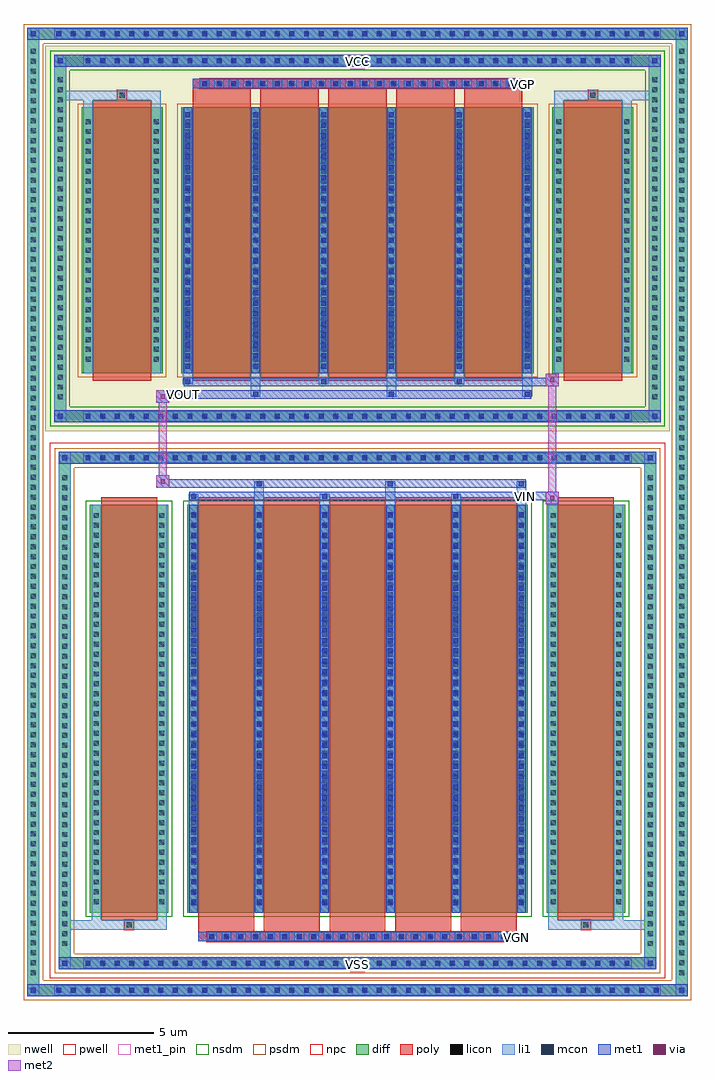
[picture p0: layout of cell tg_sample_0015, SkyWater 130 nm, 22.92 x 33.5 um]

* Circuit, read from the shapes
.subckt tg_sample_0015 VCC VGN VGP VIN VOUT VSS
XM1 VSS VSS VSS VSUBS sky130_fd_pr__nfet_01v8 w=14.01 l=1.92 m=2
XM2 VOUT VGN VIN VSUBS sky130_fd_pr__nfet_01v8 w=14.01 l=1.92 m=5
XM3 VCC VCC VCC n1 sky130_fd_pr__pfet_01v8 w=9.13 l=2 m=2
XM4 VOUT VGP VIN n1 sky130_fd_pr__pfet_01v8 w=9.13 l=2 m=5
.ends

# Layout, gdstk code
import gdstk
lib = gdstk.Library(unit=1e-6, precision=5e-09)
def R(c, l, rs):  # rectangles x0, y0, x1, y1
    for r in rs: c.add(gdstk.rectangle(r[:2], r[2:], *l))
def A(c, l, x, y, w, h, nx, ny, dx, dy):  # array of equal rectangles
    R(c, l, [(x+i*dx, y+j*dy, x+i*dx+w, y+j*dy+h) for i in range(nx) for j in range(ny)])
def P(c, l, *ps):  # polygons
    for p in ps: c.add(gdstk.Polygon(p, *l))
nwell = (64, 20)
pwell = (64, 44)
diff = (65, 20)
poly = (66, 20)
licon = (66, 44)
li1 = (67, 20)
mcon = (67, 44)
met1_pin = (68, 16)
met1 = (68, 20)
via = (68, 44)
met2 = (69, 20)
nsdm = (93, 44)
psdm = (94, 20)
npc = (95, 20)

tg_sample_0015 = lib.new_cell('tg_sample_0015')
R(tg_sample_0015, nwell, [(-10.72,9.59,10.72,22.83)])
R(tg_sample_0015, pwell, [(-10.57,-9.19,10.57,9.19)])
A(tg_sample_0015, diff, -10.455, -9.8, 0.41, 0.41, 42, 2, 0.5, 32.83)
A(tg_sample_0015, diff, -11.33, -9.195, 0.41, 0.41, 1, 94, 0, 0.34)
A(tg_sample_0015, diff, 10.92, -9.195, 0.41, 0.41, 1, 94, 0, 0.34)
A(tg_sample_0015, diff, -9.455, -8.88, 0.41, 0.41, 38, 2, 0.5, 17.35)
A(tg_sample_0015, diff, -10.26, -8.195, 0.41, 0.41, 1, 48, 0, 0.34)
A(tg_sample_0015, diff, 9.85, -8.195, 0.41, 0.41, 1, 48, 0, 0.34)
A(tg_sample_0015, diff, -9.455, 9.9, 0.41, 0.41, 38, 2, 0.5, 12.21)
A(tg_sample_0015, diff, -10.41, 10.565, 0.41, 0.41, 1, 33, 0, 0.34)
A(tg_sample_0015, diff, 10, 10.565, 0.41, 0.41, 1, 33, 0, 0.34)
R(tg_sample_0015, diff, [(-10.455,-9.8,10.455,-9.39), (-11.33,-9.195,-10.92,22.835), (10.92,-9.195,11.33,22.835), (-9.455,-8.88,9.455,-8.47), (-10.26,-8.195,-9.85,8.195), (9.85,-8.195,10.26,8.195), (-9.19,-6.935,-6.49,7.075), (-5.85,-6.935,5.85,7.075), (6.49,-6.935,9.19,7.075), (-9.455,8.47,9.455,8.88), (-9.455,9.9,9.455,10.31), (-10.41,10.565,-10,21.855), (10,10.565,10.41,21.855), (-9.47,11.575,-6.69,20.705), (-6.05,11.575,6.05,20.705), (6.69,11.575,9.47,20.705), (-9.455,22.11,9.455,22.52), (-10.455,23.03,10.455,23.44)])
P(tg_sample_0015, diff, [(10.26,8.88),(-10.26,8.88),(-10.26,-8.47),(-9.85,-8.47),(-9.85,8.47),(9.85,8.47),(9.85,-8.47),(-9.85,-8.47),(-10.26,-8.47),(-10.26,-8.88),(10.26,-8.88)],
  [(11.33,23.44),(-11.33,23.44),(-11.33,-9.39),(-10.92,-9.39),(-10.92,23.03),(10.92,23.03),(10.92,-9.39),(-10.92,-9.39),(-11.33,-9.39),(-11.33,-9.8),(11.33,-9.8)],
  [(10.41,9.9),(-10.41,9.9),(-10.41,22.11),(-10,22.11),(-10,10.31),(10,10.31),(10,22.11),(-10,22.11),(-10.41,22.11),(-10.41,22.52),(10.41,22.52)])
A(tg_sample_0015, poly, -5.165, -7.92, 0.33, 0.33, 21, 1, 0.5, 0)
A(tg_sample_0015, poly, -5.46, -7.59, 1.92, 0.405, 5, 1, 2.25, 0)
A(tg_sample_0015, poly, -5.46, -7.185, 1.92, 14.51, 5, 1, 2.25, 0)
A(tg_sample_0015, poly, -5.66, 11.325, 2, 9.63, 5, 1, 2.33, 0)
A(tg_sample_0015, poly, -5.66, 20.955, 2, 0.405, 5, 1, 2.33, 0)
A(tg_sample_0015, poly, -5.415, 21.36, 0.33, 0.33, 22, 1, 0.5, 0)
R(tg_sample_0015, poly, [(-5.46,-7.92,5.46,-7.59), (-8.005,-7.515,-7.675,-7.185), (-8.005,-7.515,-7.675,-7.185), (7.675,-7.515,8.005,-7.185), (7.675,-7.515,8.005,-7.185), (-8.8,-7.185,-6.88,7.325), (6.88,-7.185,8.8,7.325), (-9.08,11.325,-7.08,20.955), (7.08,11.325,9.08,20.955), (-8.245,20.955,-7.915,21.285), (-8.245,20.955,-7.915,21.285), (7.915,20.955,8.245,21.285), (7.915,20.955,8.245,21.285), (-5.66,21.36,5.66,21.69)])
A(tg_sample_0015, licon, -10.335, -9.68, 0.17, 0.17, 42, 2, 0.5, 32.83)
A(tg_sample_0015, licon, -11.21, -9.075, 0.17, 0.17, 1, 94, 0, 0.34)
A(tg_sample_0015, licon, 11.04, -9.075, 0.17, 0.17, 1, 94, 0, 0.34)
A(tg_sample_0015, licon, -9.335, -8.76, 0.17, 0.17, 38, 2, 0.5, 17.35)
A(tg_sample_0015, licon, -10.14, -8.075, 0.17, 0.17, 1, 48, 0, 0.34)
A(tg_sample_0015, licon, 9.97, -8.075, 0.17, 0.17, 1, 48, 0, 0.34)
A(tg_sample_0015, licon, -5.085, -7.84, 0.17, 0.17, 21, 1, 0.5, 0)
A(tg_sample_0015, licon, -9.05, -6.645, 0.17, 0.17, 1, 40, 0, 0.34)
A(tg_sample_0015, licon, -6.8, -6.645, 0.17, 0.17, 1, 40, 0, 0.34)
A(tg_sample_0015, licon, -5.71, -6.645, 0.17, 0.17, 6, 40, 2.25, 0.34)
A(tg_sample_0015, licon, 6.63, -6.645, 0.17, 0.17, 1, 40, 0, 0.34)
A(tg_sample_0015, licon, 8.88, -6.645, 0.17, 0.17, 1, 40, 0, 0.34)
A(tg_sample_0015, licon, -9.335, 10.02, 0.17, 0.17, 38, 2, 0.5, 12.21)
A(tg_sample_0015, licon, -10.29, 10.685, 0.17, 0.17, 1, 33, 0, 0.34)
A(tg_sample_0015, licon, 10.12, 10.685, 0.17, 0.17, 1, 33, 0, 0.34)
A(tg_sample_0015, licon, -9.33, 11.975, 0.17, 0.17, 1, 25, 0, 0.34)
A(tg_sample_0015, licon, -7, 11.975, 0.17, 0.17, 1, 25, 0, 0.34)
A(tg_sample_0015, licon, -5.91, 11.975, 0.17, 0.17, 6, 25, 2.33, 0.34)
A(tg_sample_0015, licon, 6.83, 11.975, 0.17, 0.17, 1, 25, 0, 0.34)
A(tg_sample_0015, licon, 9.16, 11.975, 0.17, 0.17, 1, 25, 0, 0.34)
A(tg_sample_0015, licon, -5.335, 21.44, 0.17, 0.17, 22, 1, 0.5, 0)
R(tg_sample_0015, licon, [(-7.925,-7.435,-7.755,-7.265), (7.755,-7.435,7.925,-7.265), (-8.165,21.035,-7.995,21.205), (7.995,21.035,8.165,21.205)])
A(tg_sample_0015, li1, -10.415, -9.76, 0.33, 0.33, 42, 2, 0.5, 32.83)
A(tg_sample_0015, li1, -11.29, -9.155, 0.33, 0.33, 1, 94, 0, 0.34)
A(tg_sample_0015, li1, 10.96, -9.155, 0.33, 0.33, 1, 94, 0, 0.34)
A(tg_sample_0015, li1, -9.415, -8.84, 0.33, 0.33, 38, 2, 0.5, 17.35)
A(tg_sample_0015, li1, -10.22, -8.155, 0.33, 0.33, 1, 48, 0, 0.34)
A(tg_sample_0015, li1, 9.89, -8.155, 0.33, 0.33, 1, 48, 0, 0.34)
A(tg_sample_0015, li1, -5.165, -7.92, 0.33, 0.33, 21, 1, 0.5, 0)
A(tg_sample_0015, li1, -5.79, -6.935, 0.33, 14.01, 6, 1, 2.25, 0)
A(tg_sample_0015, li1, -9.13, -6.725, 0.33, 0.33, 1, 40, 0, 0.34)
A(tg_sample_0015, li1, -6.88, -6.725, 0.33, 0.33, 1, 40, 0, 0.34)
A(tg_sample_0015, li1, -5.79, -6.725, 0.33, 0.33, 6, 40, 2.25, 0.34)
A(tg_sample_0015, li1, 6.55, -6.725, 0.33, 0.33, 1, 40, 0, 0.34)
A(tg_sample_0015, li1, 8.8, -6.725, 0.33, 0.33, 1, 40, 0, 0.34)
A(tg_sample_0015, li1, -5.71, -6.675, 0.17, 0.17, 6, 38, 2.25, 0.36)
A(tg_sample_0015, li1, -5.71, -6.675, 0.17, 13.49, 6, 1, 2.25, 0)
A(tg_sample_0015, li1, -5.79, 7.075, 0.33, 0.375, 3, 1, 4.5, 0)
A(tg_sample_0015, li1, -3.54, 7.075, 0.33, 0.805, 3, 1, 4.5, 0)
A(tg_sample_0015, li1, -5.71, 7.28, 0.17, 0.17, 3, 1, 4.5, 0)
A(tg_sample_0015, li1, -3.46, 7.71, 0.17, 0.17, 3, 1, 4.5, 0)
A(tg_sample_0015, li1, -9.415, 9.94, 0.33, 0.33, 38, 2, 0.5, 12.21)
A(tg_sample_0015, li1, -10.37, 10.605, 0.33, 0.33, 1, 33, 0, 0.34)
A(tg_sample_0015, li1, 10.04, 10.605, 0.33, 0.33, 1, 33, 0, 0.34)
A(tg_sample_0015, li1, -3.66, 10.77, 0.33, 0.805, 3, 1, 4.66, 0)
A(tg_sample_0015, li1, -3.58, 10.77, 0.17, 0.17, 3, 1, 4.66, 0)
A(tg_sample_0015, li1, -5.99, 11.2, 0.33, 0.375, 3, 1, 4.66, 0)
A(tg_sample_0015, li1, -5.91, 11.2, 0.17, 0.17, 3, 1, 4.66, 0)
A(tg_sample_0015, li1, -5.99, 11.575, 0.33, 9.13, 6, 1, 2.33, 0)
A(tg_sample_0015, li1, -5.91, 11.735, 0.17, 0.17, 6, 25, 2.33, 0.36)
A(tg_sample_0015, li1, -5.91, 11.735, 0.17, 8.81, 6, 1, 2.33, 0)
A(tg_sample_0015, li1, -9.41, 11.895, 0.33, 0.33, 1, 25, 0, 0.34)
A(tg_sample_0015, li1, -7.08, 11.895, 0.33, 0.33, 1, 25, 0, 0.34)
A(tg_sample_0015, li1, -5.99, 11.895, 0.33, 0.33, 6, 25, 2.33, 0.34)
A(tg_sample_0015, li1, 6.75, 11.895, 0.33, 0.33, 1, 25, 0, 0.34)
A(tg_sample_0015, li1, 9.08, 11.895, 0.33, 0.33, 1, 25, 0, 0.34)
A(tg_sample_0015, li1, -5.415, 21.36, 0.33, 0.33, 22, 1, 0.5, 0)
R(tg_sample_0015, li1, [(-11.33,-9.8,-10.92,-9.39), (10.92,-9.8,11.33,-9.39), (-10.415,-9.76,10.415,-9.43), (-11.21,-9.68,-11.04,-9.51), (-11.21,-9.68,-11.04,-9.51), (11.04,-9.68,11.21,-9.51), (11.04,-9.68,11.21,-9.51), (-11.33,-9.39,-10.92,23.03), (10.92,-9.39,11.33,23.03), (-10.26,-8.88,-9.85,-8.47), (9.85,-8.88,10.26,-8.47), (-9.415,-8.84,9.415,-8.51), (-10.14,-8.76,-9.97,-8.59), (-10.14,-8.76,-9.97,-8.59), (9.97,-8.76,10.14,-8.59), (9.97,-8.76,10.14,-8.59), (-10.26,-8.47,-9.85,8.47), (9.85,-8.47,10.26,8.47), (-10.26,-7.515,-8.005,-7.185), (-9.13,-7.515,-8.005,-7.185), (-9.13,-7.515,-8.8,-6.935), (-8.005,-7.515,-7.675,-7.185), (-7.675,-7.515,-6.55,-7.185), (-6.88,-7.515,-6.55,-6.935), (6.55,-7.515,7.675,-7.185), (6.55,-7.515,6.88,-6.935), (7.675,-7.515,8.005,-7.185), (7.675,-7.515,10.26,-7.185), (8.005,-7.515,9.13,-7.185), (8.8,-7.515,9.13,-6.935), (-9.13,-6.935,-8.8,7.075), (-6.88,-6.935,-6.55,7.075), (6.55,-6.935,6.88,7.075), (8.8,-6.935,9.13,7.075), (-10.26,8.47,-9.85,8.88), (9.85,8.47,10.26,8.88), (-9.415,8.51,9.415,8.84), (-10.14,8.59,-9.97,8.76), (-10.14,8.59,-9.97,8.76), (9.97,8.59,10.14,8.76), (9.97,8.59,10.14,8.76), (-10.41,9.9,-10,10.31), (10,9.9,10.41,10.31), (-9.415,9.94,9.415,10.27), (-10.29,10.02,-10.12,10.19), (-10.29,10.02,-10.12,10.19), (10.12,10.02,10.29,10.19), (10.12,10.02,10.29,10.19), (-10.41,10.31,-10,22.11), (10,10.31,10.41,22.11), (-9.41,11.575,-9.08,20.705), (-7.08,11.575,-6.75,20.705), (6.75,11.575,7.08,20.705), (9.08,11.575,9.41,20.705), (-9.41,20.705,-9.08,21.285), (-7.08,20.705,-6.75,21.285), (6.75,20.705,7.08,21.285), (9.08,20.705,9.41,21.285), (-10.41,20.955,-8.245,21.285), (-9.41,20.955,-8.245,21.285), (-8.245,20.955,-7.915,21.285), (-7.915,20.955,-6.75,21.285), (6.75,20.955,7.915,21.285), (7.915,20.955,8.245,21.285), (7.915,20.955,10.41,21.285), (8.245,20.955,9.41,21.285), (-10.41,22.11,-10,22.52), (10,22.11,10.41,22.52), (-9.415,22.15,9.415,22.48), (-10.29,22.23,-10.12,22.4), (-10.29,22.23,-10.12,22.4), (10.12,22.23,10.29,22.4), (10.12,22.23,10.29,22.4), (-11.33,23.03,-10.92,23.44), (10.92,23.03,11.33,23.44), (-10.415,23.07,10.415,23.4), (-11.21,23.15,-11.04,23.32), (-11.21,23.15,-11.04,23.32), (11.04,23.15,11.21,23.32), (11.04,23.15,11.21,23.32)])
A(tg_sample_0015, mcon, -10.335, -9.68, 0.17, 0.17, 42, 2, 0.5, 32.83)
A(tg_sample_0015, mcon, -9.335, -8.76, 0.17, 0.17, 38, 2, 0.5, 17.35)
A(tg_sample_0015, mcon, -5.085, -7.84, 0.17, 0.17, 21, 1, 0.5, 0)
A(tg_sample_0015, mcon, -5.71, -6.675, 0.17, 0.17, 6, 38, 2.25, 0.36)
A(tg_sample_0015, mcon, -5.71, 7.28, 0.17, 0.17, 3, 1, 4.5, 0)
A(tg_sample_0015, mcon, -3.46, 7.71, 0.17, 0.17, 3, 1, 4.5, 0)
A(tg_sample_0015, mcon, -9.335, 10.02, 0.17, 0.17, 38, 2, 0.5, 12.21)
A(tg_sample_0015, mcon, -3.58, 10.77, 0.17, 0.17, 3, 1, 4.66, 0)
A(tg_sample_0015, mcon, -5.91, 11.2, 0.17, 0.17, 3, 1, 4.66, 0)
A(tg_sample_0015, mcon, -5.91, 11.735, 0.17, 0.17, 6, 25, 2.33, 0.36)
A(tg_sample_0015, mcon, -5.335, 21.44, 0.17, 0.17, 22, 1, 0.5, 0)
R(tg_sample_0015, mcon, [(-11.21,-9.68,-11.04,-9.51), (11.04,-9.68,11.21,-9.51), (-10.14,-8.76,-9.97,-8.59), (9.97,-8.76,10.14,-8.59), (-10.14,8.59,-9.97,8.76), (9.97,8.59,10.14,8.76), (-10.29,10.02,-10.12,10.19), (10.12,10.02,10.29,10.19), (-10.29,22.23,-10.12,22.4), (10.12,22.23,10.29,22.4), (-11.21,23.15,-11.04,23.32), (11.04,23.15,11.21,23.32)])
R(tg_sample_0015, met1_pin, [(-0.25,-8.97,0.25,-8.47), (5.325,-7.92,5.595,-7.65), (5.635,7.22,5.905,7.49), (-6.105,10.71,-5.835,10.98), (5.525,21.36,5.795,21.63), (-0.25,22.02,0.25,22.52)])
A(tg_sample_0015, met1, -10.395, -9.74, 0.29, 0.29, 42, 2, 0.5, 32.83)
A(tg_sample_0015, met1, -9.395, -8.82, 0.29, 0.29, 38, 2, 0.5, 17.35)
A(tg_sample_0015, met1, -5.145, -7.9, 0.29, 0.29, 21, 1, 0.5, 0)
A(tg_sample_0015, met1, -5.77, -6.935, 0.29, 14.01, 6, 1, 2.25, 0)
A(tg_sample_0015, met1, -5.77, -6.735, 0.29, 0.29, 6, 38, 2.25, 0.36)
A(tg_sample_0015, met1, -5.77, 7.22, 0.29, 0.29, 3, 1, 4.5, 0)
A(tg_sample_0015, met1, -3.52, 7.65, 0.29, 0.29, 3, 1, 4.5, 0)
A(tg_sample_0015, met1, -9.395, 9.96, 0.29, 0.29, 38, 2, 0.5, 12.21)
A(tg_sample_0015, met1, -3.64, 10.71, 0.29, 0.29, 3, 1, 4.66, 0)
A(tg_sample_0015, met1, -5.97, 11.14, 0.29, 0.29, 3, 1, 4.66, 0)
A(tg_sample_0015, met1, -5.97, 11.575, 0.29, 9.13, 6, 1, 2.33, 0)
A(tg_sample_0015, met1, -5.97, 11.675, 0.29, 0.29, 6, 25, 2.33, 0.36)
A(tg_sample_0015, met1, -5.395, 21.38, 0.29, 0.29, 22, 1, 0.5, 0)
R(tg_sample_0015, met1, [(-11.33,-9.8,-10.92,-9.39), (-11.33,-9.8,-10.92,-9.39), (-10.92,-9.8,10.92,-9.39), (10.92,-9.8,11.33,-9.39), (10.92,-9.8,11.33,-9.39), (-11.27,-9.74,-10.98,-9.45), (10.98,-9.74,11.27,-9.45), (-10.26,-8.88,-9.85,-8.47), (-10.26,-8.88,-9.85,-8.47), (-9.85,-8.88,9.85,-8.47), (9.85,-8.88,10.26,-8.47), (9.85,-8.88,10.26,-8.47), (-10.2,-8.82,-9.91,-8.53), (9.91,-8.82,10.2,-8.53), (-5.46,-7.92,5.46,-7.59), (6.47,7.08,6.9,7.51), (-5.77,7.22,5.77,7.51), (5.77,7.22,6.9,7.51), (-6.9,7.65,-5.77,7.94), (-6.9,7.65,-6.47,8.08), (-5.77,7.65,5.77,7.94), (-10.26,8.47,-9.85,8.88), (-10.26,8.47,-9.85,8.88), (-9.85,8.47,9.85,8.88), (9.85,8.47,10.26,8.88), (9.85,8.47,10.26,8.88), (-10.2,8.53,-9.91,8.82), (9.91,8.53,10.2,8.82), (-10.41,9.9,-10,10.31), (-10.41,9.9,-10,10.31), (-10,9.9,10,10.31), (10,9.9,10.41,10.31), (10,9.9,10.41,10.31), (-10.35,9.96,-10.06,10.25), (10.06,9.96,10.35,10.25), (-6.9,10.57,-6.47,11), (-6.9,10.71,-5.97,11), (-5.97,10.71,5.97,11), (-5.97,11.14,5.97,11.43), (5.97,11.14,6.9,11.43), (6.47,11.14,6.9,11.57), (-5.66,21.36,5.66,21.69), (-10.41,22.11,-10,22.52), (-10.41,22.11,-10,22.52), (-10,22.11,10,22.52), (10,22.11,10.41,22.52), (10,22.11,10.41,22.52), (-10.35,22.17,-10.06,22.46), (10.06,22.17,10.35,22.46), (-11.33,23.03,-10.92,23.44), (-11.33,23.03,-10.92,23.44), (-10.92,23.03,10.92,23.44), (10.92,23.03,11.33,23.44), (10.92,23.03,11.33,23.44), (-11.27,23.09,-10.98,23.38), (10.98,23.09,11.27,23.38)])
R(tg_sample_0015, via, [(6.61,7.22,6.76,7.37), (-6.76,7.79,-6.61,7.94), (-6.76,10.71,-6.61,10.86), (6.61,11.28,6.76,11.43)])
R(tg_sample_0015, met2, [(6.47,7.08,6.9,7.51), (6.54,7.08,6.83,11.57), (6.83,7.08,6.9,7.51), (6.52,7.13,6.85,7.46), (-6.9,7.65,-6.47,8.08), (-6.83,7.65,-6.54,11), (-6.54,7.65,-6.47,8.08), (-6.85,7.7,-6.52,8.03), (-6.9,10.57,-6.47,11), (-6.54,10.57,-6.47,11), (-6.85,10.62,-6.52,10.95), (6.47,11.14,6.9,11.57), (6.83,11.14,6.9,11.57), (6.52,11.19,6.85,11.52)])
R(tg_sample_0015, nsdm, [(-9.32,-7.065,-6.36,7.205), (-5.98,-7.065,5.98,7.205), (6.36,-7.065,9.32,7.205)])
P(tg_sample_0015, nsdm, [(10.54,9.77),(-10.54,9.77),(-10.54,21.98),(-9.87,21.98),(-9.87,10.44),(9.87,10.44),(9.87,21.98),(-9.87,21.98),(-10.54,21.98),(-10.54,22.65),(10.54,22.65)])
R(tg_sample_0015, psdm, [(-9.6,11.445,-6.56,20.835), (-6.18,11.445,6.18,20.835), (6.56,11.445,9.6,20.835)])
P(tg_sample_0015, psdm, [(10.39,9.01),(-10.39,9.01),(-10.39,-8.34),(-9.72,-8.34),(-9.72,8.34),(9.72,8.34),(9.72,-8.34),(-9.72,-8.34),(-10.39,-8.34),(-10.39,-9.01),(10.39,-9.01)],
  [(11.46,23.57),(-11.46,23.57),(-11.46,-9.26),(-10.79,-9.26),(-10.79,22.9),(10.79,22.9),(10.79,-9.26),(-10.79,-9.26),(-11.46,-9.26),(-11.46,-9.93),(11.46,-9.93)])
A(tg_sample_0015, npc, -5.185, -7.94, 0.37, 0.37, 21, 1, 0.5, 0)
A(tg_sample_0015, npc, -5.435, 21.34, 0.37, 0.37, 22, 1, 0.5, 0)
R(tg_sample_0015, npc, [(-5.185,-7.94,-4.315,-7.57), (-5.185,-7.94,-4.315,-7.57), (-4.685,-7.94,-3.815,-7.57), (-4.685,-7.94,-3.815,-7.57), (-4.185,-7.94,-3.315,-7.57), (-4.185,-7.94,-3.315,-7.57), (-3.685,-7.94,-2.815,-7.57), (-3.685,-7.94,-2.815,-7.57), (-3.185,-7.94,-2.315,-7.57), (-3.185,-7.94,-2.315,-7.57), (-2.685,-7.94,-1.815,-7.57), (-2.685,-7.94,-1.815,-7.57), (-2.185,-7.94,-1.315,-7.57), (-2.185,-7.94,-1.315,-7.57), (-1.685,-7.94,-0.815,-7.57), (-1.685,-7.94,-0.815,-7.57), (-1.185,-7.94,-0.315,-7.57), (-1.185,-7.94,-0.315,-7.57), (-0.685,-7.94,0.185,-7.57), (-0.685,-7.94,0.185,-7.57), (-0.185,-7.94,0.685,-7.57), (-0.185,-7.94,0.685,-7.57), (0.315,-7.94,1.185,-7.57), (0.315,-7.94,1.185,-7.57), (0.815,-7.94,1.685,-7.57), (0.815,-7.94,1.685,-7.57), (1.315,-7.94,2.185,-7.57), (1.315,-7.94,2.185,-7.57), (1.815,-7.94,2.685,-7.57), (1.815,-7.94,2.685,-7.57), (2.315,-7.94,3.185,-7.57), (2.315,-7.94,3.185,-7.57), (2.815,-7.94,3.685,-7.57), (2.815,-7.94,3.685,-7.57), (3.315,-7.94,4.185,-7.57), (3.315,-7.94,4.185,-7.57), (3.815,-7.94,4.685,-7.57), (3.815,-7.94,4.685,-7.57), (4.315,-7.94,5.185,-7.57), (4.315,-7.94,5.185,-7.57), (-8.025,-7.535,-7.655,-7.165), (7.655,-7.535,8.025,-7.165), (-8.265,20.935,-7.895,21.305), (7.895,20.935,8.265,21.305), (-5.435,21.34,-4.565,21.71), (-5.435,21.34,-4.565,21.71), (-4.935,21.34,-4.065,21.71), (-4.935,21.34,-4.065,21.71), (-4.435,21.34,-3.565,21.71), (-4.435,21.34,-3.565,21.71), (-3.935,21.34,-3.065,21.71), (-3.935,21.34,-3.065,21.71), (-3.435,21.34,-2.565,21.71), (-3.435,21.34,-2.565,21.71), (-2.935,21.34,-2.065,21.71), (-2.935,21.34,-2.065,21.71), (-2.435,21.34,-1.565,21.71), (-2.435,21.34,-1.565,21.71), (-1.935,21.34,-1.065,21.71), (-1.935,21.34,-1.065,21.71), (-1.435,21.34,-0.565,21.71), (-1.435,21.34,-0.565,21.71), (-0.935,21.34,-0.065,21.71), (-0.935,21.34,-0.065,21.71), (-0.435,21.34,0.435,21.71), (-0.435,21.34,0.435,21.71), (0.065,21.34,0.935,21.71), (0.065,21.34,0.935,21.71), (0.565,21.34,1.435,21.71), (0.565,21.34,1.435,21.71), (1.065,21.34,1.935,21.71), (1.065,21.34,1.935,21.71), (1.565,21.34,2.435,21.71), (1.565,21.34,2.435,21.71), (2.065,21.34,2.935,21.71), (2.065,21.34,2.935,21.71), (2.565,21.34,3.435,21.71), (2.565,21.34,3.435,21.71), (3.065,21.34,3.935,21.71), (3.065,21.34,3.935,21.71), (3.565,21.34,4.435,21.71), (3.565,21.34,4.435,21.71), (4.065,21.34,4.935,21.71), (4.065,21.34,4.935,21.71), (4.565,21.34,5.435,21.71), (4.565,21.34,5.435,21.71)])
tg_sample_0015.add(gdstk.Label('VIN', (5.77,7.355), layer=68, texttype=5))
tg_sample_0015.add(gdstk.Label('VGN', (5.46,-7.785), layer=68, texttype=5))
tg_sample_0015.add(gdstk.Label('VGP', (5.66,21.495), layer=68, texttype=5))
tg_sample_0015.add(gdstk.Label('VSS', (0,-8.72), layer=68, texttype=5))
tg_sample_0015.add(gdstk.Label('VCC', (0,22.27), layer=68, texttype=5))
tg_sample_0015.add(gdstk.Label('VOUT', (-5.97,10.845), layer=68, texttype=5))

lib.write_gds('tg_sample_0015.gds')
